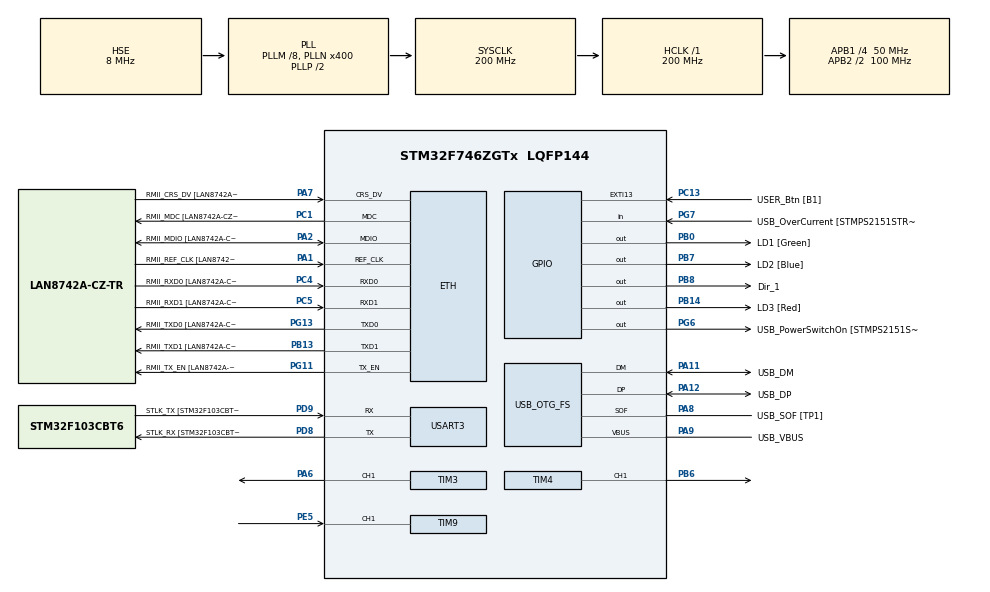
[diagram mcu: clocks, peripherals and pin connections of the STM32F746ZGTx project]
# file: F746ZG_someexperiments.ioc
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ETH.AutoNegotiation=ETH_AUTONEGOTIATION_DISABLE
ETH.MediaInterface=ETH_MEDIA_INTERFACE_RMII
ETH.PHY_Name=LAN8742A_PHY_ADDRESS
ETH.PHY_Value=0
ETH.PhyAddress=0
FREERTOS.Tasks01=Main_Task,48,512,MainTask,As weak,NULL,Dynamic,NULL,NULL;UDP_Comm,40,1024,UDPCommunication,As weak,NULL,Dynamic,NULL,NULL;Second_Task,8,256,SecondTask,As weak,NULL,Dynamic,NULL,NULL
FREERTOS.configENABLE_BACKWARD_COMPATIBILITY=0
FREERTOS.configMINIMAL_STACK_SIZE=256
LWIP.GATEWAY_ADDRESS=192.168.000.001
LWIP.IP_ADDRESS=192.168.000.010
LWIP.LWIP_DHCP=0
LWIP.LWIP_TCP=0
LWIP.MEMP_NUM_NETBUF=4
LWIP.MEMP_NUM_NETCONN=8
LWIP.MEMP_NUM_RAW_PCB=16
LWIP.MEMP_NUM_SYS_TIMEOUT=4
LWIP.MEMP_NUM_TCP_PCB=0
LWIP.NETMASK_ADDRESS=255.255.192.000
LWIP.Version=v2.1.2_Cube
Mcu.Family=STM32F7
Mcu.Name=STM32F746ZGTx
Mcu.Package=LQFP144
NVIC.ETH_IRQn=true\:5\:0\:false\:false\:true\:true\:false\:true
NVIC.PriorityGroup=NVIC_PRIORITYGROUP_4
NVIC.TIM6_DAC_IRQn=true\:0\:0\:false\:false\:true\:false\:false\:true
NVIC.TimeBase=TIM6_DAC_IRQn
NVIC.TimeBaseIP=TIM6
PA1.GPIO_Label=RMII_REF_CLK [LAN8742A-CZ-TR_REFCLK0]
PA1.Mode=RMII
PA1.Signal=ETH_REF_CLK
PA10.GPIO_Label=USB_ID
PA10.Signal=USB_OTG_FS_ID
PA11.GPIO_Label=USB_DM
PA11.Mode=Device_Only
PA11.Signal=USB_OTG_FS_DM
PA12.GPIO_Label=USB_DP
PA12.Mode=Device_Only
PA12.Signal=USB_OTG_FS_DP
PA13.GPIO_Label=TMS
PA13.Mode=Serial_Wire
PA13.Signal=SYS_JTMS-SWDIO
PA14.GPIO_Label=TCK
PA14.Mode=Serial_Wire
PA14.Signal=SYS_JTCK-SWCLK
PA2.GPIO_Label=RMII_MDIO [LAN8742A-CZ-TR_MDIO]
PA2.Mode=RMII
PA2.Signal=ETH_MDIO
PA6.Signal=S_TIM3_CH1
PA7.GPIO_Label=RMII_CRS_DV [LAN8742A-CZ-TR_CRS_DV]
PA7.Mode=RMII
PA7.Signal=ETH_CRS_DV
PA8.GPIO_Label=USB_SOF [TP1]
PA8.Mode=Activate_SOF_FS
PA8.Signal=USB_OTG_FS_SOF
PA9.GPIO_Label=USB_VBUS
PA9.Mode=Activate_VBUS
PA9.Signal=USB_OTG_FS_VBUS
PB0.GPIO_Label=LD1 [Green]
PB0.Signal=GPIO_Output
PB13.GPIO_Label=RMII_TXD1 [LAN8742A-CZ-TR_TXD1]
PB13.Mode=RMII
PB13.Signal=ETH_TXD1
PB14.GPIO_Label=LD3 [Red]
PB14.Signal=GPIO_Output
PB3.GPIO_Label=SW0
PB3.Signal=SYS_JTDO-SWO
PB6.Signal=S_TIM4_CH1
PB7.GPIO_Label=LD2 [Blue]
PB7.Signal=GPIO_Output
PB8.GPIO_Label=Dir_1
PB8.Signal=GPIO_Output
PC1.GPIO_Label=RMII_MDC [LAN8742A-CZ-TR_MDC]
PC1.Mode=RMII
PC1.Signal=ETH_MDC
PC13.GPIO_Label=USER_Btn [B1]
PC13.Signal=GPXTI13
PC14/OSC32_IN.Mode=LSE-External-Oscillator
PC14/OSC32_IN.Signal=RCC_OSC32_IN
PC15/OSC32_OUT.Mode=LSE-External-Oscillator
PC15/OSC32_OUT.Signal=RCC_OSC32_OUT
PC4.GPIO_Label=RMII_RXD0 [LAN8742A-CZ-TR_RXD0]
PC4.Mode=RMII
PC4.Signal=ETH_RXD0
PC5.GPIO_Label=RMII_RXD1 [LAN8742A-CZ-TR_RXD1]
PC5.Mode=RMII
PC5.Signal=ETH_RXD1
PD8.GPIO_Label=STLK_RX [STM32F103CBT6_PA3]
PD8.Mode=Asynchronous
PD8.Signal=USART3_TX
PD9.GPIO_Label=STLK_TX [STM32F103CBT6_PA2]
PD9.Mode=Asynchronous
PD9.Signal=USART3_RX
PE5.Signal=S_TIM9_CH1
PG11.GPIO_Label=RMII_TX_EN [LAN8742A-CZ-TR_TXEN]
PG11.Mode=RMII
PG11.Signal=ETH_TX_EN
PG13.GPIO_Label=RMII_TXD0 [LAN8742A-CZ-TR_TXD0]
PG13.Mode=RMII
PG13.Signal=ETH_TXD0
PG6.GPIO_Label=USB_PowerSwitchOn [STMPS2151STR_EN]
PG6.Signal=GPIO_Output
PG7.GPIO_Label=USB_OverCurrent [STMPS2151STR_FAULT]
PG7.Signal=GPIO_Input
PH0/OSC_IN.GPIO_Label=MCO [STM32F103CBT6_PA8]
PH0/OSC_IN.Mode=HSE-External-Clock-Source
PH0/OSC_IN.Signal=RCC_OSC_IN
PH1/OSC_OUT.Mode=HSE-External-Clock-Source
PH1/OSC_OUT.Signal=RCC_OSC_OUT
ProjectManager.HeapSize=0x200
ProjectManager.StackSize=0x400
ProjectManager.TargetToolchain=SW4STM32
RCC.48MHZClocksFreq_Value=24000000
RCC.AHBFreq_Value=200000000
RCC.APB1CLKDivider=RCC_HCLK_DIV4
RCC.APB1Freq_Value=50000000
RCC.APB1TimFreq_Value=100000000
RCC.APB2CLKDivider=RCC_HCLK_DIV2
RCC.APB2Freq_Value=100000000
RCC.APB2TimFreq_Value=200000000
RCC.CortexFreq_Value=200000000
RCC.HCLKFreq_Value=200000000
RCC.HSE_VALUE=8000000
RCC.HSI_VALUE=16000000
RCC.PLL48CLockSelection=RCC_CLK48SOURCE_PLLSAIP
RCC.PLLM=8
RCC.PLLMUL=RCC_PLL_MUL9
RCC.PLLN=400
RCC.PLLQ=8
RCC.PLLSAIP=RCC_PLLSAIP_DIV4
RCC.PRESCALERUSB=RCC_USBCLKSOURCE_PLL_DIV1_5
RCC.SYSCLKFreq_VALUE=200000000
RCC.SYSCLKSource=RCC_SYSCLKSOURCE_PLLCLK
RCC.SYSCLKSourceVirtual=RCC_SYSCLKSOURCE_PLLCLK
RCC.USBFreq_Value=48000000
RCC.VCOOutputFreq_Value=400000000
SH.S_TIM3_CH1.0=TIM3_CH1,PWM Generation1 CH1
SH.S_TIM4_CH1.0=TIM4_CH1,PWM Generation1 CH1
SH.S_TIM9_CH1.0=TIM9_CH1,TriggerSource_TI1FP1
TIM3.Channel-PWM\ Generation1\ CH1=TIM_CHANNEL_1
TIM3.Period=50000 - 1
TIM3.Prescaler=1
TIM3.Pulse-PWM\ Generation1\ CH1=0
TIM3.TIM_MasterOutputTrigger=TIM_TRGO_RESET
TIM3.TIM_MasterSlaveMode=TIM_MASTERSLAVEMODE_ENABLE
TIM4.Channel-PWM\ Generation1\ CH1=TIM_CHANNEL_1
TIM4.Period=50000 - 1
TIM4.Prescaler=1
TIM4.Pulse-PWM\ Generation1\ CH1=0
TIM4.TIM_MasterSlaveMode=TIM_MASTERSLAVEMODE_ENABLE
TIM9.Period=65535
USART3.VirtualMode-Asynchronous=VM_ASYNC
USB_OTG_FS.VirtualMode=Device_Only
VP_FREERTOS_VS_CMSIS_V2.Mode=CMSIS_V2
VP_LWIP_VS_Enabled.Mode=Enabled
VP_SYS_VS_tim6.Mode=TIM6
VP_TIM9_VS_ControllerModeClock.Mode=Clock Mode
board=NUCLEO-F746ZG

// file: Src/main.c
/* USER CODE BEGIN Header */
/**
  ******************************************************************************
  * @file           : main.c
  * @brief          : Main program body
  ******************************************************************************
  * @attention
  *
  * <h2><center>&copy; Copyright (c) 2020 STMicroelectronics.
  * All rights reserved.</center></h2>
  *
  * This software component is licensed by ST under Ultimate Liberty license
  * SLA0044, the "License"; You may not use this file except in compliance with
  * the License. You may obtain a copy of the License at:
  *                             www.st.com/SLA0044
  *
  ******************************************************************************
  */
/* USER CODE END Header */
#include "main.h"
#include "cmsis_os.h"
#include "lwip.h"

/* USER CODE BEGIN Includes */

#include "udp.h"
#include "stdio.h"
#include "string.h"
#include "float.h"
#include "math.h"

/* USER CODE END Includes */

/* USER CODE BEGIN PTD */

struct position_cnt {
	uint16_t old_cnt;
	uint16_t new_cnt;
	uint16_t delta_cnt;
	long int position_old;
	long int position_new;
	float deg_position;
	int direction;
	float deg_desired_position;
};

/* USER CODE END PTD */

/* USER CODE BEGIN PD */

#define NPULSES 4096		// Impulsi per compiere un giro
#define K 3					// Costante controllo proporzionale
#define P_MAX 50000			// Max cunter period nella modalità levetta
#define P_MIN 245			// Min counter period (dovuto a max 3000 rpm motore)
#define CLOCK 100000000		// Frequenza di clock del micro (10^8 Hz)
#define GEARBOX_RATIO 20	// Rapporto di riduzione riduttore

/* USER CODE END PD */

TIM_HandleTypeDef htim3;
TIM_HandleTypeDef htim4;
TIM_HandleTypeDef htim9;

UART_HandleTypeDef huart3;

PCD_HandleTypeDef hpcd_USB_OTG_FS;

/* Definitions for Main_Task */
osThreadId_t Main_TaskHandle;
const osThreadAttr_t Main_Task_attributes = {
  .name = "Main_Task",
  .priority = (osPriority_t) osPriorityRealtime,
  .stack_size = 512 * 4
};
/* Definitions for UDP_Comm */
osThreadId_t UDP_CommHandle;
const osThreadAttr_t UDP_Comm_attributes = {
  .name = "UDP_Comm",
  .priority = (osPriority_t) osPriorityHigh,
  .stack_size = 1024 * 4
};
/* Definitions for Second_Task */
osThreadId_t Second_TaskHandle;
const osThreadAttr_t Second_Task_attributes = {
  .name = "Second_Task",
  .priority = (osPriority_t) osPriorityLow,
  .stack_size = 256 * 4
};
/* USER CODE BEGIN PV */

uint8_t light_status=0;
UART_HandleTypeDef *SERIALDEBUG = &huart3;
uint8_t com_is_ok=0;
uint8_t external_button=0;
int watchdog_max=100;
int my_watchdog=-1;
float my_float_1=0;
float my_float_2=0;

uint8_t prova_int[] = {0,0,0,0,0};
float prova_single[] = {0.0,0.0};
uint16_t my_period = 0;
uint8_t control_mode = 0;			// Modalità motore
struct position_cnt p = {0,0,0,0,0,0.0,1,0.0};

/* USER CODE END PV */

void SystemClock_Config(void);
static void MX_GPIO_Init(void);
static void MX_USART3_UART_Init(void);
static void MX_USB_OTG_FS_PCD_Init(void);
static void MX_TIM3_Init(void);
static void MX_TIM9_Init(void);
static void MX_TIM4_Init(void);
void MainTask(void *argument);
void UDPCommunication(void *argument);
void SecondTask(void *argument);

int main(void)
{

  /* MCU Configuration--------------------------------------------------------*/

  /* Reset of all peripherals, Initializes the Flash interface and the Systick. */
  HAL_Init();

  /* Configure the system clock */
  SystemClock_Config();

  /* Initialize all configured peripherals */
  MX_GPIO_Init();
  MX_USART3_UART_Init();
  MX_USB_OTG_FS_PCD_Init();
  MX_TIM3_Init();
  MX_TIM9_Init();
  MX_TIM4_Init();
  /* USER CODE BEGIN 2 */

  HAL_TIM_PWM_Start(&htim3,TIM_CHANNEL_1);
  HAL_TIM_PWM_Start(&htim4,TIM_CHANNEL_1);
  HAL_TIM_Base_Start(&htim9);

  my_watchdog=watchdog_max;
  uint8_t numofstartupblinks;
  for (numofstartupblinks=0; numofstartupblinks<3; numofstartupblinks++) {
  	  HAL_GPIO_WritePin(LD1_GPIO_Port, LD1_Pin, 1);
  	  HAL_Delay(50);
  	  HAL_GPIO_WritePin(LD1_GPIO_Port, LD1_Pin, 0);
  	  HAL_Delay(50);
  	  HAL_GPIO_WritePin(LD2_GPIO_Port, LD2_Pin, 1);
  	  HAL_Delay(50);
  	  HAL_GPIO_WritePin(LD2_GPIO_Port, LD2_Pin, 0);
  	  HAL_Delay(50);
  	  HAL_GPIO_WritePin(LD3_GPIO_Port, LD3_Pin, 1);
  	  HAL_Delay(50);
  	  HAL_GPIO_WritePin(LD3_GPIO_Port, LD3_Pin, 0);
  	  HAL_Delay(50);
  	  HAL_GPIO_WritePin(LD1_GPIO_Port, LD1_Pin, 1);
  	  HAL_Delay(50);
  	  HAL_GPIO_WritePin(LD1_GPIO_Port, LD1_Pin, 0);
  	  HAL_Delay(50);
  	  HAL_GPIO_WritePin(LD2_GPIO_Port, LD2_Pin, 1);
  	  HAL_Delay(50);
  	  HAL_GPIO_WritePin(LD2_GPIO_Port, LD2_Pin, 0);
  	  HAL_Delay(50);
  	  HAL_GPIO_WritePin(LD3_GPIO_Port, LD3_Pin, 1);
  	  HAL_Delay(50);
  	  HAL_GPIO_WritePin(LD3_GPIO_Port, LD3_Pin, 0);
  	  HAL_Delay(50);

  	  HAL_GPIO_WritePin(LD1_GPIO_Port, LD1_Pin, 1);
  	  HAL_GPIO_WritePin(LD2_GPIO_Port, LD2_Pin, 1);
  	  HAL_GPIO_WritePin(LD3_GPIO_Port, LD3_Pin, 1);
  	  HAL_Delay(100);
  	  HAL_GPIO_WritePin(LD1_GPIO_Port, LD1_Pin, 0);
  	  HAL_GPIO_WritePin(LD2_GPIO_Port, LD2_Pin, 0);
  	  HAL_GPIO_WritePin(LD3_GPIO_Port, LD3_Pin, 0);
  	  HAL_Delay(100);

  	  HAL_GPIO_WritePin(LD1_GPIO_Port, LD1_Pin, 1);
  	  HAL_GPIO_WritePin(LD2_GPIO_Port, LD2_Pin, 1);
  	  HAL_GPIO_WritePin(LD3_GPIO_Port, LD3_Pin, 1);
  	  HAL_Delay(100);
  	  HAL_GPIO_WritePin(LD1_GPIO_Port, LD1_Pin, 0);
  	  HAL_GPIO_WritePin(LD2_GPIO_Port, LD2_Pin, 0);
  	  HAL_GPIO_WritePin(LD3_GPIO_Port, LD3_Pin, 0);
  	  HAL_Delay(100);
  }

  HAL_GPIO_WritePin(LD1_GPIO_Port, LD1_Pin, 0);
  HAL_GPIO_WritePin(LD2_GPIO_Port, LD2_Pin, 0);
  HAL_GPIO_WritePin(LD3_GPIO_Port, LD3_Pin, 0);
  /* USER CODE END 2 */

  /* Init scheduler */
  osKernelInitialize();

  /* Create the thread(s) */
  /* creation of Main_Task */
  Main_TaskHandle = osThreadNew(MainTask, NULL, &Main_Task_attributes);

  /* creation of UDP_Comm */
  UDP_CommHandle = osThreadNew(UDPCommunication, NULL, &UDP_Comm_attributes);

  /* creation of Second_Task */
  Second_TaskHandle = osThreadNew(SecondTask, NULL, &Second_Task_attributes);

  /* Start scheduler */
  osKernelStart();

  /* We should never get here as control is now taken by the scheduler */
  /* Infinite loop */
  while (1)
  {

  }
}

void SystemClock_Config(void)
{
  RCC_OscInitTypeDef RCC_OscInitStruct = {0};
  RCC_ClkInitTypeDef RCC_ClkInitStruct = {0};
  RCC_PeriphCLKInitTypeDef PeriphClkInitStruct = {0};

  /** Configure LSE Drive Capability
  */
  HAL_PWR_EnableBkUpAccess();
  /** Configure the main internal regulator output voltage
  */
  __HAL_RCC_PWR_CLK_ENABLE();
  __HAL_PWR_VOLTAGESCALING_CONFIG(PWR_REGULATOR_VOLTAGE_SCALE1);
  /** Initializes the RCC Oscillators according to the specified parameters
  * in the RCC_OscInitTypeDef structure.
  */
  RCC_OscInitStruct.OscillatorType = RCC_OSCILLATORTYPE_HSE;
  RCC_OscInitStruct.HSEState = RCC_HSE_BYPASS;
  RCC_OscInitStruct.PLL.PLLState = RCC_PLL_ON;
  RCC_OscInitStruct.PLL.PLLSource = RCC_PLLSOURCE_HSE;
  RCC_OscInitStruct.PLL.PLLM = 8;
  RCC_OscInitStruct.PLL.PLLN = 400;
  RCC_OscInitStruct.PLL.PLLP = RCC_PLLP_DIV2;
  RCC_OscInitStruct.PLL.PLLQ = 8;
  if (HAL_RCC_OscConfig(&RCC_OscInitStruct) != HAL_OK)
  {
    Error_Handler();
  }
  /** Activate the Over-Drive mode
  */
  if (HAL_PWREx_EnableOverDrive() != HAL_OK)
  {
    Error_Handler();
  }
  /** Initializes the CPU, AHB and APB buses clocks
  */
  RCC_ClkInitStruct.ClockType = RCC_CLOCKTYPE_HCLK|RCC_CLOCKTYPE_SYSCLK
                              |RCC_CLOCKTYPE_PCLK1|RCC_CLOCKTYPE_PCLK2;
  RCC_ClkInitStruct.SYSCLKSource = RCC_SYSCLKSOURCE_PLLCLK;
  RCC_ClkInitStruct.AHBCLKDivider = RCC_SYSCLK_DIV1;
  RCC_ClkInitStruct.APB1CLKDivider = RCC_HCLK_DIV4;
  RCC_ClkInitStruct.APB2CLKDivider = RCC_HCLK_DIV2;

  if (HAL_RCC_ClockConfig(&RCC_ClkInitStruct, FLASH_LATENCY_6) != HAL_OK)
  {
    Error_Handler();
  }
  PeriphClkInitStruct.PeriphClockSelection = RCC_PERIPHCLK_USART3|RCC_PERIPHCLK_CLK48;
  PeriphClkInitStruct.PLLSAI.PLLSAIN = 192;
  PeriphClkInitStruct.PLLSAI.PLLSAIR = 2;
  PeriphClkInitStruct.PLLSAI.PLLSAIQ = 2;
  PeriphClkInitStruct.PLLSAI.PLLSAIP = RCC_PLLSAIP_DIV4;
  PeriphClkInitStruct.PLLSAIDivQ = 1;
  PeriphClkInitStruct.PLLSAIDivR = RCC_PLLSAIDIVR_2;
  PeriphClkInitStruct.Usart3ClockSelection = RCC_USART3CLKSOURCE_PCLK1;
  PeriphClkInitStruct.Clk48ClockSelection = RCC_CLK48SOURCE_PLLSAIP;
  if (HAL_RCCEx_PeriphCLKConfig(&PeriphClkInitStruct) != HAL_OK)
  {
    Error_Handler();
  }
}

static void MX_TIM3_Init(void)
{

  TIM_MasterConfigTypeDef sMasterConfig = {0};
  TIM_OC_InitTypeDef sConfigOC = {0};

  htim3.Instance = TIM3;
  htim3.Init.Prescaler = 1;
  htim3.Init.CounterMode = TIM_COUNTERMODE_UP;
  htim3.Init.Period = 50000 - 1;
  htim3.Init.ClockDivision = TIM_CLOCKDIVISION_DIV1;
  htim3.Init.AutoReloadPreload = TIM_AUTORELOAD_PRELOAD_DISABLE;
  if (HAL_TIM_PWM_Init(&htim3) != HAL_OK)
  {
    Error_Handler();
  }
  sMasterConfig.MasterOutputTrigger = TIM_TRGO_RESET;
  sMasterConfig.MasterSlaveMode = TIM_MASTERSLAVEMODE_ENABLE;
  if (HAL_TIMEx_MasterConfigSynchronization(&htim3, &sMasterConfig) != HAL_OK)
  {
    Error_Handler();
  }
  sConfigOC.OCMode = TIM_OCMODE_PWM1;
  sConfigOC.Pulse = 0;
  sConfigOC.OCPolarity = TIM_OCPOLARITY_HIGH;
  sConfigOC.OCFastMode = TIM_OCFAST_DISABLE;
  if (HAL_TIM_PWM_ConfigChannel(&htim3, &sConfigOC, TIM_CHANNEL_1) != HAL_OK)
  {
    Error_Handler();
  }
  HAL_TIM_MspPostInit(&htim3);

}

static void MX_TIM4_Init(void)
{

  TIM_MasterConfigTypeDef sMasterConfig = {0};
  TIM_OC_InitTypeDef sConfigOC = {0};

  htim4.Instance = TIM4;
  htim4.Init.Prescaler = 1;
  htim4.Init.CounterMode = TIM_COUNTERMODE_UP;
  htim4.Init.Period = 50000 - 1;
  htim4.Init.ClockDivision = TIM_CLOCKDIVISION_DIV1;
  htim4.Init.AutoReloadPreload = TIM_AUTORELOAD_PRELOAD_DISABLE;
  if (HAL_TIM_PWM_Init(&htim4) != HAL_OK)
  {
    Error_Handler();
  }
  sMasterConfig.MasterOutputTrigger = TIM_TRGO_RESET;
  sMasterConfig.MasterSlaveMode = TIM_MASTERSLAVEMODE_ENABLE;
  if (HAL_TIMEx_MasterConfigSynchronization(&htim4, &sMasterConfig) != HAL_OK)
  {
    Error_Handler();
  }
  sConfigOC.OCMode = TIM_OCMODE_PWM1;
  sConfigOC.Pulse = 0;
  sConfigOC.OCPolarity = TIM_OCPOLARITY_HIGH;
  sConfigOC.OCFastMode = TIM_OCFAST_DISABLE;
  if (HAL_TIM_PWM_ConfigChannel(&htim4, &sConfigOC, TIM_CHANNEL_1) != HAL_OK)
  {
    Error_Handler();
  }
  HAL_TIM_MspPostInit(&htim4);

}

static void MX_TIM9_Init(void)
{

  TIM_SlaveConfigTypeDef sSlaveConfig = {0};

  htim9.Instance = TIM9;
  htim9.Init.Prescaler = 0;
  htim9.Init.CounterMode = TIM_COUNTERMODE_UP;
  htim9.Init.Period = 65535;
  htim9.Init.ClockDivision = TIM_CLOCKDIVISION_DIV1;
  htim9.Init.AutoReloadPreload = TIM_AUTORELOAD_PRELOAD_DISABLE;
  if (HAL_TIM_Base_Init(&htim9) != HAL_OK)
  {
    Error_Handler();
  }
  sSlaveConfig.SlaveMode = TIM_SLAVEMODE_EXTERNAL1;
  sSlaveConfig.InputTrigger = TIM_TS_TI1FP1;
  sSlaveConfig.TriggerPolarity = TIM_TRIGGERPOLARITY_RISING;
  sSlaveConfig.TriggerFilter = 0;
  if (HAL_TIM_SlaveConfigSynchro(&htim9, &sSlaveConfig) != HAL_OK)
  {
    Error_Handler();
  }

}

static void MX_USART3_UART_Init(void)
{

  huart3.Instance = USART3;
  huart3.Init.BaudRate = 115200;
  huart3.Init.WordLength = UART_WORDLENGTH_8B;
  huart3.Init.StopBits = UART_STOPBITS_1;
  huart3.Init.Parity = UART_PARITY_NONE;
  huart3.Init.Mode = UART_MODE_TX_RX;
  huart3.Init.HwFlowCtl = UART_HWCONTROL_NONE;
  huart3.Init.OverSampling = UART_OVERSAMPLING_16;
  huart3.Init.OneBitSampling = UART_ONE_BIT_SAMPLE_DISABLE;
  huart3.AdvancedInit.AdvFeatureInit = UART_ADVFEATURE_NO_INIT;
  if (HAL_UART_Init(&huart3) != HAL_OK)
  {
    Error_Handler();
  }

}

static void MX_USB_OTG_FS_PCD_Init(void)
{

  hpcd_USB_OTG_FS.Instance = USB_OTG_FS;
  hpcd_USB_OTG_FS.Init.dev_endpoints = 6;
  hpcd_USB_OTG_FS.Init.speed = PCD_SPEED_FULL;
  hpcd_USB_OTG_FS.Init.dma_enable = DISABLE;
  hpcd_USB_OTG_FS.Init.phy_itface = PCD_PHY_EMBEDDED;
  hpcd_USB_OTG_FS.Init.Sof_enable = ENABLE;
  hpcd_USB_OTG_FS.Init.low_power_enable = DISABLE;
  hpcd_USB_OTG_FS.Init.lpm_enable = DISABLE;
  hpcd_USB_OTG_FS.Init.vbus_sensing_enable = ENABLE;
  hpcd_USB_OTG_FS.Init.use_dedicated_ep1 = DISABLE;
  if (HAL_PCD_Init(&hpcd_USB_OTG_FS) != HAL_OK)
  {
    Error_Handler();
  }

}

static void MX_GPIO_Init(void)
{
  GPIO_InitTypeDef GPIO_InitStruct = {0};

  /* GPIO Ports Clock Enable */
  __HAL_RCC_GPIOE_CLK_ENABLE();
  __HAL_RCC_GPIOC_CLK_ENABLE();
  __HAL_RCC_GPIOH_CLK_ENABLE();
  __HAL_RCC_GPIOA_CLK_ENABLE();
  __HAL_RCC_GPIOB_CLK_ENABLE();
  __HAL_RCC_GPIOD_CLK_ENABLE();
  __HAL_RCC_GPIOG_CLK_ENABLE();

  /*Configure GPIO pin Output Level */
  HAL_GPIO_WritePin(GPIOB, LD1_Pin|LD3_Pin|LD2_Pin|Dir_1_Pin, GPIO_PIN_RESET);

  /*Configure GPIO pin Output Level */
  HAL_GPIO_WritePin(USB_PowerSwitchOn_GPIO_Port, USB_PowerSwitchOn_Pin, GPIO_PIN_RESET);

  /*Configure GPIO pin : USER_Btn_Pin */
  GPIO_InitStruct.Pin = USER_Btn_Pin;
  GPIO_InitStruct.Mode = GPIO_MODE_IT_RISING;
  GPIO_InitStruct.Pull = GPIO_NOPULL;
  HAL_GPIO_Init(USER_Btn_GPIO_Port, &GPIO_InitStruct);

  /*Configure GPIO pins : LD1_Pin LD3_Pin LD2_Pin Dir_1_Pin */
  GPIO_InitStruct.Pin = LD1_Pin|LD3_Pin|LD2_Pin|Dir_1_Pin;
  GPIO_InitStruct.Mode = GPIO_MODE_OUTPUT_PP;
  GPIO_InitStruct.Pull = GPIO_NOPULL;
  GPIO_InitStruct.Speed = GPIO_SPEED_FREQ_LOW;
  HAL_GPIO_Init(GPIOB, &GPIO_InitStruct);

  /*Configure GPIO pin : USB_PowerSwitchOn_Pin */
  GPIO_InitStruct.Pin = USB_PowerSwitchOn_Pin;
  GPIO_InitStruct.Mode = GPIO_MODE_OUTPUT_PP;
  GPIO_InitStruct.Pull = GPIO_NOPULL;
  GPIO_InitStruct.Speed = GPIO_SPEED_FREQ_LOW;
  HAL_GPIO_Init(USB_PowerSwitchOn_GPIO_Port, &GPIO_InitStruct);

  /*Configure GPIO pin : USB_OverCurrent_Pin */
  GPIO_InitStruct.Pin = USB_OverCurrent_Pin;
  GPIO_InitStruct.Mode = GPIO_MODE_INPUT;
  GPIO_InitStruct.Pull = GPIO_NOPULL;
  HAL_GPIO_Init(USB_OverCurrent_GPIO_Port, &GPIO_InitStruct);

}

/* USER CODE BEGIN 4 */

void personal_switch (uint8_t light){

	switch (light%8){
			      	  case 0:
			    		  HAL_GPIO_WritePin(LD3_GPIO_Port,LD3_Pin,0);
			    	  	  HAL_GPIO_WritePin(LD1_GPIO_Port,LD1_Pin,0);
			    	  	  HAL_GPIO_WritePin(LD2_GPIO_Port,LD2_Pin,0);
			    	  	  break;
			      	  case 1:
			    		  HAL_GPIO_WritePin(LD3_GPIO_Port,LD3_Pin,1);
			    	  	  HAL_GPIO_WritePin(LD1_GPIO_Port,LD1_Pin,0);
			    	  	  HAL_GPIO_WritePin(LD2_GPIO_Port,LD2_Pin,0);
			    	  	  break;
			      	  case 2:
			    		  HAL_GPIO_WritePin(LD3_GPIO_Port,LD3_Pin,0);
			    	  	  HAL_GPIO_WritePin(LD1_GPIO_Port,LD1_Pin,0);
			    	  	  HAL_GPIO_WritePin(LD2_GPIO_Port,LD2_Pin,1);
			    	  	  break;
			      	  case 3:
			    		  HAL_GPIO_WritePin(LD3_GPIO_Port,LD3_Pin,1);
			    	  	  HAL_GPIO_WritePin(LD1_GPIO_Port,LD1_Pin,0);
			    	  	  HAL_GPIO_WritePin(LD2_GPIO_Port,LD2_Pin,1);
			    	  	  break;
			      	  case 4:
			    		  HAL_GPIO_WritePin(LD3_GPIO_Port,LD3_Pin,0);
			    	  	  HAL_GPIO_WritePin(LD1_GPIO_Port,LD1_Pin,1);
			    	  	  HAL_GPIO_WritePin(LD2_GPIO_Port,LD2_Pin,0);
			    	  	  break;
			      	  case 5:
			    		  HAL_GPIO_WritePin(LD3_GPIO_Port,LD3_Pin,1);
			    	  	  HAL_GPIO_WritePin(LD1_GPIO_Port,LD1_Pin,1);
			    	  	  HAL_GPIO_WritePin(LD2_GPIO_Port,LD2_Pin,0);
			    	  	  break;
			      	  case 6:
			    		  HAL_GPIO_WritePin(LD3_GPIO_Port,LD3_Pin,0);
			    	  	  HAL_GPIO_WritePin(LD1_GPIO_Port,LD1_Pin,1);
			    	  	  HAL_GPIO_WritePin(LD2_GPIO_Port,LD2_Pin,1);
			    	  	  break;
			      	  case 7:
			    		  HAL_GPIO_WritePin(LD3_GPIO_Port,LD3_Pin,1);
			    	  	  HAL_GPIO_WritePin(LD1_GPIO_Port,LD1_Pin,1);
			    	  	  HAL_GPIO_WritePin(LD2_GPIO_Port,LD2_Pin,1);
			    	  	  break;
			      	  default:
			    		  HAL_GPIO_WritePin(LD3_GPIO_Port,LD3_Pin,0);
			    	  	  HAL_GPIO_WritePin(LD1_GPIO_Port,LD1_Pin,0);
			    	  	  HAL_GPIO_WritePin(LD2_GPIO_Port,LD2_Pin,0);
			    	  	  break;
			      }
}

int motor_step(uint8_t npulse, uint16_t cp, uint8_t direct){

	uint16_t cinit = htim9.Instance->CNT;

	while(1) {

		HAL_GPIO_WritePin(Dir_1_GPIO_Port,Dir_1_Pin,direct%2);
		htim3.Instance->ARR = cp;
		htim4.Instance->ARR = cp;
		htim3.Instance->CCR1 = cp/2;
		htim4.Instance->CCR1 = cp/2;

		if (cinit + npulse > htim9.Instance->ARR) {
			if (htim9.Instance->CNT < npulse) {
				if (htim9.Instance->CNT >= (cinit+npulse)%(htim9.Instance->ARR)) break;
			}
		}
		else{
			if (htim9.Instance->CNT >= (cinit+npulse)%(htim9.Instance->ARR)) break;
		}
	}

	htim3.Instance->CCR1 = 0;
	htim4.Instance->CCR1 = 0;

	if (direct%2 == 1) return 1;
	else return -1;
}

uint16_t omegatoCP(float omega, uint16_t prescaler){

		uint16_t cp;
		float freq = CLOCK / (NPULSES * (1 + prescaler));
		cp = (uint16_t)(360 *freq / omega);

		if (360 *freq / omega > 65535){
			cp = 65535;
		}

		return cp;
}

void recv_fun(void *arg, struct udp_pcb *pcb, struct pbuf *datarecv, const ip_addr_t *addr, uint16_t port){
	/*
	char inc_data[15];
	memcpy(inc_data,datarecv->payload,15);
	com_is_ok=inc_data[0];
	external_button=inc_data[1];
	memcpy(&my_float_1,(float*)(&(inc_data[2])),4);
	memcpy(&my_float_2,(float*)(&(inc_data[6])),4);
	if (com_is_ok==42){
		my_watchdog=watchdog_max;
	}
	pbuf_free(datarecv);
	*/

	char inc_data[13];
	memcpy(inc_data,datarecv->payload,13);
	memcpy(&prova_int[0],(uint8_t*)(&(inc_data[0])),4);
	memcpy(&prova_int[4],(uint8_t*)(&(inc_data[8])),1);
	memcpy(&prova_single[0],(float*)(&(inc_data[4])),4);
	memcpy(&prova_single[1],(float*)(&(inc_data[9])),4);
	my_watchdog = watchdog_max;

	pbuf_free(datarecv);
}

/* USER CODE END 4 */

__weak void MainTask(void *argument)
{
  /* init code for LWIP */
  MX_LWIP_Init();
  /* USER CODE BEGIN 5 */

  uint8_t motor_start_new = 0;
  uint8_t motor_start_old = 0;
  uint8_t motor_start_new1 = 0;
  uint8_t motor_start_old1 = 0;

  uint8_t control_mode_button_new = 0;
  uint8_t control_mode_button_old = 0;

  uint8_t motor_status = 0;
  uint16_t control_period = 0;

  /*
  uint8_t string_buffer[64];
  int16_t len_string;
  int32_t timeout=25;
  uint8_t print_count = 0;
  */

  /*
  len_string = sprintf(string_buffer, "Starting Main Task\n");
  HAL_UART_Transmit(&huart3,string_buffer,len_string,timeout);
  */

  uint32_t mytick;
  mytick = osKernelGetTickCount();

  /* Infinite loop */
  for(;;)
  {
	  if (my_watchdog<0){
		  htim3.Instance->CCR1 = 0; 	//Pulse
		  htim4.Instance->CCR1 = 0;
	  }
	  else {
		  control_mode_button_new = prova_int[4];

		  if (control_mode_button_new > control_mode_button_old) {
			  control_mode = (control_mode + 1)%4;
		  }

		  control_mode_button_old = control_mode_button_new;

		  switch(control_mode) {

		  	  case 0:			// fermo
		  		htim3.Instance->CCR1 = 0; 	//Pulse
		  	    htim4.Instance->CCR1 = 0;
		  	    break;

		  	  case 1:			// passi

		  		  motor_start_new = prova_int[2];
		  		  motor_start_new1 = prova_int[3];

		  		  if (motor_start_new > motor_start_old){
		  			  p.direction = motor_step(100,1000,1);
		  		  }
		  		  if (motor_start_new1 > motor_start_old1){
		  			  p.direction = motor_step(100,1000,0);
		  		  }

		  		  motor_start_old = motor_start_new;
		  		  motor_start_old1 = motor_start_new1;
		  		  break;

		  	  case 2:			// levetta

		  		  if(abs((int)(100*prova_single[0])) < 10) {
		  			  htim3.Instance->CCR1 = 0; 	//Pulse
		  			  htim4.Instance->CCR1 = 0;
		  		  }
		  		  else{
		  			  if(prova_single[0] > 0) {
		  				  motor_status = 0;
		  				  my_period = (uint16_t)(P_MAX / (P_MIN + (P_MAX - P_MIN) * (prova_single[0]-0.1)/0.9) * P_MIN);
		  				  p.direction = -1;
		  			  }
		  			  else{
		  				  motor_status = 1;
		  				  my_period =  (uint16_t)(P_MAX / (P_MIN + (P_MAX - P_MIN) * (-prova_single[0]-0.1)/0.9) * P_MIN);
		  				  p.direction = 1;
		  			  }
		  			  HAL_GPIO_WritePin(Dir_1_GPIO_Port,Dir_1_Pin,motor_status%2);
		  			  htim3.Instance->ARR = my_period;
		  			  htim4.Instance->ARR = my_period;
		  			  htim3.Instance->CCR1 = my_period/2;
		  			  htim4.Instance->CCR1 = my_period/2;
		  		  }
		  		  break;

		  	  case 3:			// controllo

		  		  p.deg_desired_position = prova_single[1];

		  			  if(p.deg_desired_position > p.deg_position) {
		  				  control_period = omegatoCP(K*GEARBOX_RATIO*(p.deg_desired_position - p.deg_position),htim3.Instance->PSC);
		  				  p.direction = 1;
		  				  motor_status = 1;
		  			  }
		  			  else {
		  				  control_period = omegatoCP(K*GEARBOX_RATIO*(-p.deg_desired_position + p.deg_position),htim3.Instance->PSC);
		  				  p.direction = -1;
		  				  motor_status = 0;
		  			  }

		  			  if (control_period < P_MIN) {
		  				  control_period = P_MIN;		// saturazione velocità
		  			  }

		  			  HAL_GPIO_WritePin(Dir_1_GPIO_Port,Dir_1_Pin,motor_status%2);
		  			  htim3.Instance->ARR = control_period;
		  			  htim4.Instance->ARR = control_period;
		  			  htim3.Instance->CCR1 = control_period/2;
		  			  htim4.Instance->CCR1 = control_period/2;
		  		  /*}
		  		  else{
		  			  htim3.Instance->CCR1 = 0; 	//Pulse
		  			  htim4.Instance->CCR1 = 0;
		  		  }
		  		  */
		  		  break;

		  	  default:
		  		htim3.Instance->CCR1 = 0; 	//Pulse
		  		htim4.Instance->CCR1 = 0;
		  		break;
		  }

		  p.new_cnt = htim9.Instance->CNT;

		  if((p.new_cnt - p.old_cnt) < -32000) {	// overflow
			  p.delta_cnt = p.new_cnt + 65536 - p.old_cnt;
		  }
		  else {
			  p.delta_cnt = p.new_cnt - p.old_cnt;
		  }

		  p.position_new = p.position_old + p.direction * p.delta_cnt;
		  p.deg_position = (float)(p.position_new)*360.0/(NPULSES * GEARBOX_RATIO);

		  p.old_cnt = p.new_cnt;
		  p.position_old = p.position_new;

	  // print_count++;
	  }

    /*if(print_count == 10){
		len_string = sprintf(string_buffer,"motor status: %i, x axis: %3.4f, y axis: %3.4f\n",motor_status,prova_single[0],prova_single[1]);
		HAL_UART_Transmit(&huart3,string_buffer,len_string,timeout);
		print_count = 0;
		}*/

	my_watchdog-=1;
	mytick += 10U;
    osDelayUntil(mytick);
  }
  /* USER CODE END 5 */
}

__weak void UDPCommunication(void *argument)
{
  /* USER CODE BEGIN UDPCommunication */
	/* REMOTE ADDRESS DEFINITION */
	struct ip4_addr computer_address;
	IP4_ADDR(&computer_address,192,168,0,100);

	struct ip4_addr local_address;
	IP4_ADDR(&local_address,192,168,0,10);

	/* UDP INITIALIZATION */
	struct udp_pcb *hudp;
	hudp=udp_new();
	udp_bind(hudp,&local_address,9999);
	udp_recv(hudp,recv_fun,NULL);

	uint32_t mytick2;
	mytick2 = osKernelGetTickCount();
  /* Infinite loop */
  for(;;)
  {

	struct pbuf *datasend;
	datasend = pbuf_alloc(PBUF_TRANSPORT,13,PBUF_RAM);
	char dati[13];
	memcpy(&dati[0],(char*)(&prova_int[0]),4);
	memcpy(&dati[4],(char*)(&prova_single[0]),4);
	memcpy(&dati[8],(char*)(&control_mode),1);
	memcpy(&dati[9],(char*)(&p.deg_position),4);
	memcpy(datasend->payload,dati,13);
    udp_sendto(hudp,datasend,&computer_address,11111);
    pbuf_free(datasend);
	mytick2 += 10U;					// 10 ms
	osDelayUntil(mytick2);

  }
  /* USER CODE END UDPCommunication */
}

__weak void SecondTask(void *argument)
{
  /* USER CODE BEGIN SecondTask */

	uint32_t mytick3;
	mytick3 = osKernelGetTickCount();

	uint8_t button_inc_old=0;
	uint8_t button_inc_new=0;
	uint8_t button_dec_old=0;
	uint8_t button_dec_new=0;

  /* Infinite loop */
  for(;;)
  {

	  if (my_watchdog<0){
	  		  HAL_GPIO_WritePin(LD3_GPIO_Port,LD3_Pin,0);
	  	  	  HAL_GPIO_WritePin(LD1_GPIO_Port,LD1_Pin,0);
	  	  	  HAL_GPIO_WritePin(LD2_GPIO_Port,LD2_Pin,0);
	  	  	  light_status=0;
	  	  }
	  else{
	  		  button_inc_new = prova_int[1];
	  		  button_dec_new = prova_int[0];

	  		  if (button_inc_new > button_inc_old){
	  		      light_status++;
	  		      personal_switch(light_status);
	  		  }

	  		  if (button_dec_new > button_dec_old){
	  			  light_status--;
	  			  personal_switch(light_status);
	  		  }

	  		button_inc_old = button_inc_new;
	  	    button_dec_old = button_dec_new;

	  		my_watchdog-=1;
	  		mytick3 += 25U;
	  		osDelayUntil(mytick3);
	  }
  }
  /* USER CODE END SecondTask */
}

 /**
  * @brief  Period elapsed callback in non blocking mode
  * @note   This function is called  when TIM6 interrupt took place, inside
  * HAL_TIM_IRQHandler(). It makes a direct call to HAL_IncTick() to increment
  * a global variable "uwTick" used as application time base.
  * @param  htim : TIM handle
  * @retval None
  */
void HAL_TIM_PeriodElapsedCallback(TIM_HandleTypeDef *htim)
{
  if (htim->Instance == TIM6) {
    HAL_IncTick();
  }
}

void Error_Handler(void)
{
}

/************************ (C) COPYRIGHT STMicroelectronics *****END OF FILE****/
